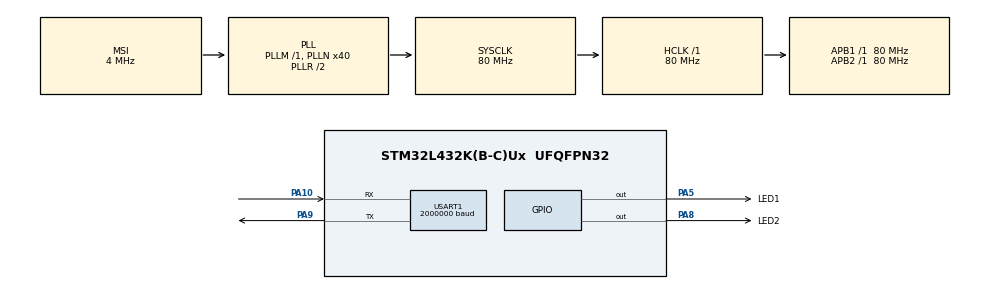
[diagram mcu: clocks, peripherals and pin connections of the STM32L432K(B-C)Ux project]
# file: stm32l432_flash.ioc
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Mcu.Family=STM32L4
Mcu.Name=STM32L432K(B-C)Ux
Mcu.Package=UFQFPN32
NVIC.PriorityGroup=NVIC_PRIORITYGROUP_4
PA10.Mode=Asynchronous
PA10.Signal=USART1_RX
PA13\ (JTMS-SWDIO).Mode=Serial_Wire
PA13\ (JTMS-SWDIO).Signal=SYS_JTMS-SWDIO
PA14\ (JTCK-SWCLK).Mode=Serial_Wire
PA14\ (JTCK-SWCLK).Signal=SYS_JTCK-SWCLK
PA5.GPIO_Label=LED1
PA5.GPIO_ModeDefaultOutputPP=GPIO_MODE_OUTPUT_OD
PA5.GPIO_PuPd=GPIO_NOPULL
PA5.PinState=GPIO_PIN_SET
PA5.Signal=GPIO_Output
PA8.GPIO_Label=LED2
PA8.GPIO_ModeDefaultOutputPP=GPIO_MODE_OUTPUT_OD
PA8.GPIO_PuPd=GPIO_NOPULL
PA8.Signal=GPIO_Output
PA9.Mode=Asynchronous
PA9.Signal=USART1_TX
ProjectManager.HeapSize=0x200
ProjectManager.StackSize=0x400
ProjectManager.TargetToolchain=STM32CubeIDE
RCC.ADCFreq_Value=32000000
RCC.AHBFreq_Value=80000000
RCC.APB1Freq_Value=80000000
RCC.APB1TimFreq_Value=80000000
RCC.APB2Freq_Value=80000000
RCC.APB2TimFreq_Value=80000000
RCC.CortexFreq_Value=80000000
RCC.HCLKFreq_Value=80000000
RCC.HSE_VALUE=8000000
RCC.HSI48_VALUE=48000000
RCC.HSI_VALUE=16000000
RCC.LSE_VALUE=32768
RCC.MSI_VALUE=4000000
RCC.PLLN=40
RCC.PLLSAI1N=16
RCC.SYSCLKFreq_VALUE=80000000
RCC.SYSCLKSource=RCC_SYSCLKSOURCE_PLLCLK
RCC.USBFreq_Value=32000000
RCC.VCOOutputFreq_Value=160000000
USART1.BaudRate=2000000
USART1.OverSampling=UART_OVERSAMPLING_8
USART1.VirtualMode-Asynchronous=VM_ASYNC
VP_RNG_VS_RNG.Mode=RNG_Activate
board=custom

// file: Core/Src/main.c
/* USER CODE BEGIN Header */
/**
 ******************************************************************************
 * @file           : main.c
 * @brief          : Main program body
 ******************************************************************************
 * @attention
 *
 * Copyright (c) 2025 STM32World <lth@stm32world.com>
 * All rights reserved.
 *
 * This software is licensed under terms that can be found in the LICENSE file
 * in the root directory of this software component.
 * If no LICENSE file comes with this software, it is provided AS-IS.
 *
 ******************************************************************************
 */
/* USER CODE END Header */
#include "main.h"

/* USER CODE BEGIN Includes */
#include <stdlib.h>
#include <stdio.h>
#include <math.h>
#include "flash_storage.h"
/* USER CODE END Includes */

RNG_HandleTypeDef hrng;

UART_HandleTypeDef huart1;

void SystemClock_Config(void);
static void MX_GPIO_Init(void);
static void MX_USART1_UART_Init(void);
static void MX_RNG_Init(void);

/* USER CODE BEGIN 0 */

// Send printf to uart1
int _write(int fd, char *ptr, int len) {
    HAL_StatusTypeDef hstatus;

    if (fd == 1 || fd == 2) {
        hstatus = HAL_UART_Transmit(&huart1, (uint8_t*) ptr, len, HAL_MAX_DELAY);
        if (hstatus == HAL_OK)
            return len;
        else
            return -1;
    }
    return -1;
}

/* USER CODE END 0 */

int main(void)
{

  /* USER CODE BEGIN 1 */

    uint32_t *boot_count = flash_storage + 0;
    uint32_t *random_value = flash_storage + FLASH_PAGE_WORDS;

  /* USER CODE END 1 */

  /* MCU Configuration--------------------------------------------------------*/

  /* Reset of all peripherals, Initializes the Flash interface and the Systick. */
  HAL_Init();

  /* Configure the system clock */
  SystemClock_Config();

  /* Initialize all configured peripherals */
  MX_GPIO_Init();
  MX_USART1_UART_Init();
  MX_RNG_Init();
  /* USER CODE BEGIN 2 */

    printf("\n\n\n\nStarting flash test...\n");

    uint32_t new_boot_count = (*boot_count == 0xffffffff) ? 1 : *boot_count + 1;

    printf("Boot count address: 0x%08lx\n", (uint32_t)boot_count);

    if (flash_storage_update(boot_count, &new_boot_count, 4) != 0) {
        printf("Error flash_storage_update\n");
    }

    uint32_t new_random_value = HAL_RNG_GetRandomNumber(&hrng);
    if (flash_storage_update(random_value, &new_random_value, 4) != 0) {
        printf("Error flash_storage_update\n");
    }

  /* USER CODE END 2 */

  /* Infinite loop */
  /* USER CODE BEGIN WHILE */

    uint32_t now = 0, next_blink = 500, next_tick = 1000, loop_cnt = 0;

    while (1) {

        now = uwTick;

        if (now >= next_blink) {
            HAL_GPIO_TogglePin(LED1_GPIO_Port, LED1_Pin);
            HAL_GPIO_TogglePin(LED2_GPIO_Port, LED2_Pin);
            next_blink = now + 500;
        }

        if (now >= next_tick) {
            printf("Tick %lu (lc=%lu boot_count=0x%08lx random_value=0x%08lx)\n", now / 1000, loop_cnt, *boot_count, *random_value);

            loop_cnt = 0;
            next_tick = now + 1000;
        }

        ++loop_cnt;

    /* USER CODE END WHILE */

    }
}

void SystemClock_Config(void)
{
  RCC_OscInitTypeDef RCC_OscInitStruct = {0};
  RCC_ClkInitTypeDef RCC_ClkInitStruct = {0};

  /** Configure the main internal regulator output voltage
  */
  if (HAL_PWREx_ControlVoltageScaling(PWR_REGULATOR_VOLTAGE_SCALE1) != HAL_OK)
  {
    Error_Handler();
  }

  /** Initializes the RCC Oscillators according to the specified parameters
  * in the RCC_OscInitTypeDef structure.
  */
  RCC_OscInitStruct.OscillatorType = RCC_OSCILLATORTYPE_MSI;
  RCC_OscInitStruct.MSIState = RCC_MSI_ON;
  RCC_OscInitStruct.MSICalibrationValue = 0;
  RCC_OscInitStruct.MSIClockRange = RCC_MSIRANGE_6;
  RCC_OscInitStruct.PLL.PLLState = RCC_PLL_ON;
  RCC_OscInitStruct.PLL.PLLSource = RCC_PLLSOURCE_MSI;
  RCC_OscInitStruct.PLL.PLLM = 1;
  RCC_OscInitStruct.PLL.PLLN = 40;
  RCC_OscInitStruct.PLL.PLLP = RCC_PLLP_DIV7;
  RCC_OscInitStruct.PLL.PLLQ = RCC_PLLQ_DIV2;
  RCC_OscInitStruct.PLL.PLLR = RCC_PLLR_DIV2;
  if (HAL_RCC_OscConfig(&RCC_OscInitStruct) != HAL_OK)
  {
    Error_Handler();
  }

  /** Initializes the CPU, AHB and APB buses clocks
  */
  RCC_ClkInitStruct.ClockType = RCC_CLOCKTYPE_HCLK|RCC_CLOCKTYPE_SYSCLK
                              |RCC_CLOCKTYPE_PCLK1|RCC_CLOCKTYPE_PCLK2;
  RCC_ClkInitStruct.SYSCLKSource = RCC_SYSCLKSOURCE_PLLCLK;
  RCC_ClkInitStruct.AHBCLKDivider = RCC_SYSCLK_DIV1;
  RCC_ClkInitStruct.APB1CLKDivider = RCC_HCLK_DIV1;
  RCC_ClkInitStruct.APB2CLKDivider = RCC_HCLK_DIV1;

  if (HAL_RCC_ClockConfig(&RCC_ClkInitStruct, FLASH_LATENCY_4) != HAL_OK)
  {
    Error_Handler();
  }
}

static void MX_RNG_Init(void)
{

  hrng.Instance = RNG;
  if (HAL_RNG_Init(&hrng) != HAL_OK)
  {
    Error_Handler();
  }

}

static void MX_USART1_UART_Init(void)
{

  huart1.Instance = USART1;
  huart1.Init.BaudRate = 2000000;
  huart1.Init.WordLength = UART_WORDLENGTH_8B;
  huart1.Init.StopBits = UART_STOPBITS_1;
  huart1.Init.Parity = UART_PARITY_NONE;
  huart1.Init.Mode = UART_MODE_TX_RX;
  huart1.Init.HwFlowCtl = UART_HWCONTROL_NONE;
  huart1.Init.OverSampling = UART_OVERSAMPLING_8;
  huart1.Init.OneBitSampling = UART_ONE_BIT_SAMPLE_DISABLE;
  huart1.AdvancedInit.AdvFeatureInit = UART_ADVFEATURE_NO_INIT;
  if (HAL_UART_Init(&huart1) != HAL_OK)
  {
    Error_Handler();
  }

}

static void MX_GPIO_Init(void)
{
  GPIO_InitTypeDef GPIO_InitStruct = {0};

  /* GPIO Ports Clock Enable */
  __HAL_RCC_GPIOA_CLK_ENABLE();

  /*Configure GPIO pin Output Level */
  HAL_GPIO_WritePin(LED1_GPIO_Port, LED1_Pin, GPIO_PIN_SET);

  /*Configure GPIO pin Output Level */
  HAL_GPIO_WritePin(LED2_GPIO_Port, LED2_Pin, GPIO_PIN_RESET);

  /*Configure GPIO pins : LED1_Pin LED2_Pin */
  GPIO_InitStruct.Pin = LED1_Pin|LED2_Pin;
  GPIO_InitStruct.Mode = GPIO_MODE_OUTPUT_OD;
  GPIO_InitStruct.Pull = GPIO_NOPULL;
  GPIO_InitStruct.Speed = GPIO_SPEED_FREQ_LOW;
  HAL_GPIO_Init(GPIOA, &GPIO_InitStruct);

}

void Error_Handler(void)
{
    __disable_irq();
    while (1)
    {
    }
}
